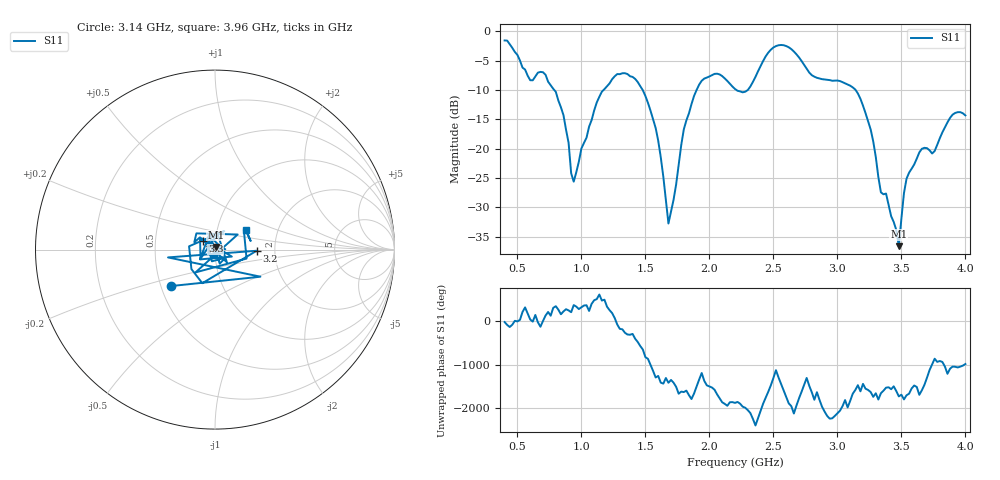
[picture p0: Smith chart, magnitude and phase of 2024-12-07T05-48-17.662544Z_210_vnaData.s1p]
!Created with skrf (http://scikit-rf.org).
# Hz S RI R 50.0
!freq ReS11 ImS11
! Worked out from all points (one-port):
!   181 points, 400 MHz to 4 GHz, reference 50 ohm
!   lowest |S11| = -36.6 dB at 3.48 GHz (marker M1), VSWR 1.03, Z = 50.4 + j1.43 ohm
!   |S11| at or under -10 dB: 787.3 MHz to 1.174 GHz (386.6 MHz wide, 39.4 % of centre); 1.478 GHz to 1.9 GHz (422.1 MHz wide, 25 % of centre); 3.142 GHz to end of sweep (the widest 3 of 4)
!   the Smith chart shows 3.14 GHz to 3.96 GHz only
!   S11 on the Smith chart (normalised r, x): 3.14 GHz: 0.56, -0.26; 3.2 GHz: 1.60, -0.02; 3.3 GHz: 0.87, +0.09; 3.96 GHz: 1.38, +0.31
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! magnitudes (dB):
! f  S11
! 400 MHz  -1.6
! 600 MHz  -8.4
! 720 MHz  -7.4
! 860 MHz  -14.3
! 940 MHz  -25.6
! 1.12 GHz  -12.1
! 1.3 GHz  -7.3
! 1.54 GHz  -13.5
! 1.6 GHz  -18.6
! 1.68 GHz  -32.7
! 1.76 GHz  -22.7
! 1.8 GHz  -16.7
! 1.94 GHz  -8.4
! 2.2 GHz  -9.8
! 2.3 GHz  -10.0
! 2.5 GHz  -2.8
! 2.66 GHz  -3.5
! 3.1 GHz  -9.3
! 3.14 GHz  -9.9
! 3.2 GHz  -12.7
! 3.3 GHz  -21.4
! 3.34 GHz  -27.4
! 3.38 GHz  -27.6
! 3.48 GHz  -36.6
! 3.52 GHz  -27.6
! 3.56 GHz  -24.1
! 3.96 GHz  -13.8
! 4 GHz  -14.3
